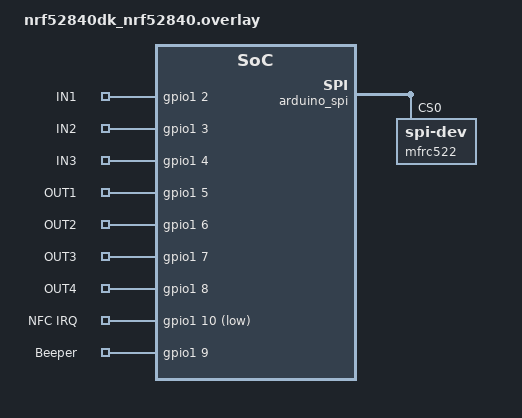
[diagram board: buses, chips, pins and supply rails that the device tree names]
// To get started, press Ctrl+Space to bring up the completion menu and view the available nodes.

// You can also use the buttons in the sidebar to perform actions on nodes.
// Actions currently available include:

// * Enabling / disabling the node
// * Adding the bus to a bus
// * Removing the node
// * Connecting ADC channels

// For more help, browse the DeviceTree documentation at https://docs.zephyrproject.org/latest/guides/dts/index.html
// You can also visit the nRF DeviceTree extension documentation at https://nrfconnect.github.io/vscode-nrf-connect/devicetree/nrfdevicetree.html

// Free pins to be used by the keyboard
&uart1 {
  status = "disabled";
};
// Free pins to be used by the keyboard
&spi1 {
  status = "disabled";
};

&arduino_spi {
	mfrc522: spi-dev@0 {
		reg = <0>;
	};
};

/ {
  keyboard {
    compatible = "gpio-keys";
    in1: in1 {
      gpios = <&gpio1 2 0>;
      label = "IN1";
    };

    in2: in2 {
      gpios = <&gpio1 3 0>;
      label = "IN2";
    };

    in3: in3 {
      gpios = <&gpio1 4 0>;
      label = "IN3";
    };

    out1: out1 {
      gpios = <&gpio1 5 (GPIO_PULL_DOWN | GPIO_ACTIVE_HIGH)>;
      label = "OUT1";
    };

    out2: out2 {
      gpios = <&gpio1 6 (GPIO_PULL_DOWN | GPIO_ACTIVE_HIGH)>;
      label = "OUT2";
    };

    out3: out3 {
      gpios = <&gpio1 7 (GPIO_PULL_DOWN | GPIO_ACTIVE_HIGH)>;
      label = "OUT3";
    };

    out4: out4 {
      gpios = <&gpio1 8 (GPIO_PULL_DOWN | GPIO_ACTIVE_HIGH)>;
      label = "OUT4";
    };
  };

  nfc {
    compatible = "gpio-keys";
    nfc_irq: irq {
      // In the default configuration (IRQPushPull bit of DivIEnReg is set to 0),
      // pin IRQ is an open-drain output pin.
      gpios = <&gpio1 10 (GPIO_PULL_UP | GPIO_ACTIVE_LOW)>;
      label = "NFC IRQ";
    };

    rx_beeper: rx {
      gpios = <&gpio1 9 0>;
      label = "Beeper";
    };
  };

  aliases {
    mfrc522-spi = &spi3;
    mfrc522 = &mfrc522;
  };
};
